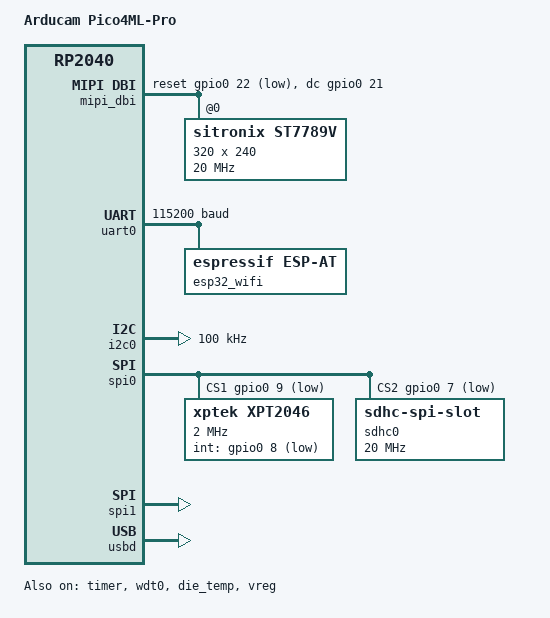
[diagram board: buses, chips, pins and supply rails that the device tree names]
/*
 * SPDX-FileCopyrightText: Copyright The Zephyr Project Contributors
 * SPDX-License-Identifier: Apache-2.0
 */

/dts-v1/;

#include <raspberrypi/rpi_pico/rp2040.dtsi>
#include <zephyr/dt-bindings/display/panel.h>
#include <zephyr/dt-bindings/mipi_dbi/mipi_dbi.h>
#include "pico4ml_pro-pinctrl.dtsi"

/ {
	model = "Arducam Pico4ML-Pro";
	compatible = "arducam,pico4ml-pro";

	chosen {
		zephyr,sram = &sram0;
		zephyr,flash = &flash0;
		zephyr,flash-controller = &ssi;
		zephyr,code-partition = &code_partition;
		zephyr,display = &st7789v;
		zephyr,touch = &xpt2046;
	};

	aliases {
		watchdog0 = &wdt0;
		sdhc0 = &sdhc0;
	};

	mipi_dbi {
		compatible = "zephyr,mipi-dbi-spi";
		spi-dev = <&spi0>;
		dc-gpios = <&gpio0 21 GPIO_ACTIVE_HIGH>;
		reset-gpios = <&gpio0 22 GPIO_ACTIVE_LOW>;
		write-only;
		#address-cells = <1>;
		#size-cells = <0>;

		/* 320x240 landscape; panel settings as in the vendor st7789.c */
		st7789v: st7789v@0 {
			compatible = "sitronix,st7789v";
			reg = <0>;
			mipi-max-frequency = <20000000>;
			mipi-mode = "MIPI_DBI_MODE_SPI_4WIRE";
			width = <320>;
			height = <240>;
			x-offset = <0>;
			y-offset = <0>;
			mdac = <0xa0>;
			pixel-format = <PANEL_PIXEL_FORMAT_RGB_565X>;
			porch-param = [0c 0c 00 33 33];
			gctrl = <0x35>;
			vcom = <0x28>;
			lcm = <0x3c>;
			vrhs = <0x0b>;
			vdvs = <0x20>;
			pwctrl1-param = [a4 a1];
			pvgam-param = [d0 01 08 0f 11 2a 36 55 44 3a 0b 06 11 20];
			nvgam-param = [d0 02 07 0a 0b 18 34 43 4a 2b 1b 1c 22 1f];
		};
	};
};

&flash0 {
	reg = <0x10000000 DT_SIZE_M(2)>;
	ranges = <0x0 0x10000000 DT_SIZE_M(2)>;

	partitions {
		ranges;
		#address-cells = <1>;
		#size-cells = <1>;

		/* Reserved memory for the second stage bootloader */
		second_stage_bootloader: partition@0 {
			compatible = "zephyr,mapped-partition";
			label = "second_stage_bootloader";
			reg = <0x00000000 0x100>;
			read-only;
		};

		/*
		 * Usable flash. Starts at 0x100, after the bootloader. The partition
		 * size is 2MB minus the 0x100 bytes taken by the bootloader.
		 */
		code_partition: partition@100 {
			compatible = "zephyr,mapped-partition";
			label = "code-partition";
			reg = <0x100 (DT_SIZE_M(2) - 0x100)>;
			read-only;
		};
	};
};

&gpio0 {
	status = "okay";
};

/* Wired to the AT command port of the on-board ESP32 */
&uart0 {
	current-speed = <115200>;
	status = "okay";
	pinctrl-0 = <&uart0_default>;
	pinctrl-names = "default";

	/* No reset or power GPIO reaches the ESP32: the driver resets it with AT+RST */
	esp32_wifi: esp32_wifi {
		compatible = "espressif,esp-at";
		status = "okay";
	};
};

/* HM01B0 camera (0x24) and ICM-42622 IMU (0x68) */
&i2c0 {
	clock-frequency = <I2C_BITRATE_STANDARD>;
	status = "okay";
	pinctrl-0 = <&i2c0_default>;
	pinctrl-names = "default";
};

/* ST7789 display, XPT2046 touch controller, microSD card */
&spi0 {
	status = "okay";
	pinctrl-0 = <&spi0_default>;
	pinctrl-names = "default";
	cs-gpios = <&gpio0 20 GPIO_ACTIVE_LOW>,
		   <&gpio0 9 GPIO_ACTIVE_LOW>,
		   <&gpio0 7 GPIO_ACTIVE_LOW>;

	/*
	 * Raw X follows the display's vertical axis and raw Y its horizontal
	 * axis, reversed. Calibration from the vendor LCD_Touch.c defaults.
	 */
	xpt2046: xpt2046@1 {
		compatible = "xptek,xpt2046";
		reg = <1>;
		spi-max-frequency = <2000000>;
		int-gpios = <&gpio0 8 (GPIO_ACTIVE_LOW | GPIO_PULL_UP)>;
		touchscreen-size-x = <240>;
		touchscreen-size-y = <320>;
		min-x = <172>;
		max-x = <3614>;
		min-y = <260>;
		max-y = <3733>;
		screen-width = <240>;
		screen-height = <320>;
		inverted-y;
		swapped-x-y;
		display = <&st7789v>;
		reads = <4>;
	};

	sdhc0: sdhc@2 {
		compatible = "zephyr,sdhc-spi-slot";
		reg = <2>;
		spi-max-frequency = <20000000>;

		mmc {
			compatible = "zephyr,sdmmc-disk";
			disk-name = "SD";
		};
	};
};

/* Arducam Mega camera connectors */
&spi1 {
	status = "okay";
	pinctrl-0 = <&spi1_default>;
	pinctrl-names = "default";
	cs-gpios = <&gpio0 13 GPIO_ACTIVE_LOW>,
		   <&gpio0 28 GPIO_ACTIVE_LOW>,
		   <&gpio0 17 GPIO_ACTIVE_LOW>,
		   <&gpio0 25 GPIO_ACTIVE_LOW>;
};

&timer {
	status = "okay";
};

&wdt0 {
	status = "okay";
};

zephyr_udc0: &usbd {
	status = "okay";
};

&die_temp {
	status = "okay";
};

&vreg {
	status = "okay";
};

&xosc {
	startup-delay-multiplier = <64>;
};

#include <../boards/common/usb/cdc_acm_serial.dtsi>
